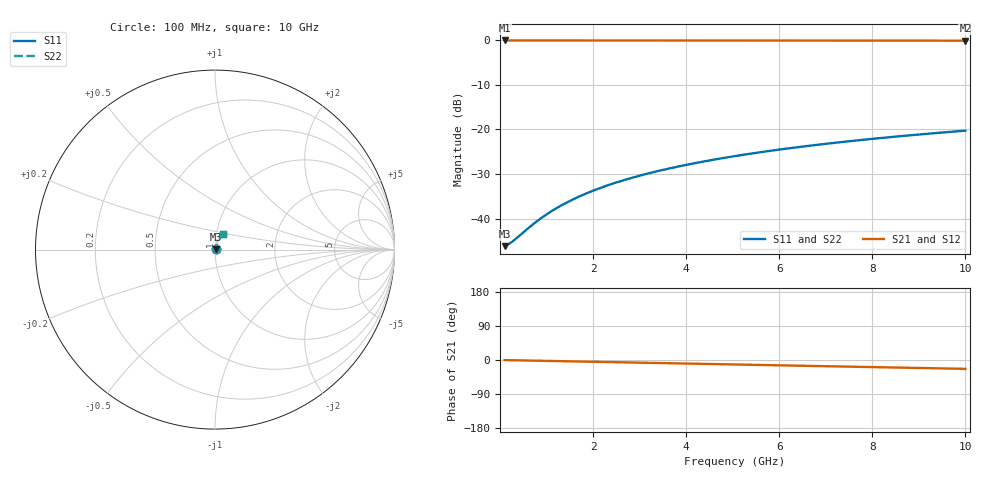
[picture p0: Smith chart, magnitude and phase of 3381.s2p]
# Hz S RI R 50.00
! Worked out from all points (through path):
!   100 points, 100 MHz to 10 GHz, reference 50 ohm
!   highest |S21| = -0.04 dB at 100 MHz (marker M1); lowest = -0.1 dB at 10 GHz (marker M2)
!   group delay of S21, straight-line fit = 6.5 ps
!   lowest |S11| = -46.2 dB at 100 MHz (marker M3), VSWR 1.01, Z = 50.5 + j0.0988 ohm
!   |S11| at or under -10 dB: start of sweep to end of sweep
!   |S22| runs from -46.2 to -20.3 dB; largest |S21 - S12| = 0
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1e8  0.00481 0.000978  0.9952 -0.00407  0.9952 -0.00407  0.00481 0.000978
2e8  0.00485 0.00196  0.9951 -0.00813  0.9951 -0.00813  0.00485 0.00196
3e8  0.00489 0.00293  0.9951 -0.0122  0.9951 -0.0122  0.00489 0.00293
7e8  0.00511 0.00684  0.9946 -0.0284  0.9946 -0.0284  0.00511 0.00684
8e8  0.00518 0.00781  0.9945 -0.0325  0.9945 -0.0325  0.00518 0.00781
1e9  0.00534 0.00976  0.9941 -0.0406  0.9941 -0.0406  0.00534 0.00976
1.2e9  0.00554 0.0117  0.9937 -0.0488  0.9937 -0.0488  0.00554 0.0117
1.4e9  0.00576 0.0137  0.9933 -0.0569  0.9933 -0.0569  0.00576 0.0137
1.6e9  0.00601 0.0156  0.9927 -0.065  0.9927 -0.065  0.00601 0.0156
1.8e9  0.0063 0.0175  0.9921 -0.0731  0.9921 -0.0731  0.0063 0.0175
2.1e9  0.00678 0.0204  0.9911 -0.0852  0.9911 -0.0852  0.00678 0.0204
2.5e9  0.00753 0.0242  0.9894 -0.1014  0.9894 -0.1014  0.00753 0.0242
2.9e9  0.00841 0.0281  0.9875 -0.1175  0.9875 -0.1175  0.00841 0.0281
3.4e9  0.00968 0.0328  0.9847 -0.1376  0.9847 -0.1376  0.00968 0.0328
3.8e9  0.0108 0.0365  0.9822 -0.1537  0.9822 -0.1537  0.0108 0.0365
4.2e9  0.0121 0.0402  0.9793 -0.1697  0.9793 -0.1697  0.0121 0.0402
5.1e9  0.0154 0.0483  0.972 -0.2054  0.972 -0.2054  0.0154 0.0483
5.9e9  0.0188 0.0553  0.9643 -0.237  0.9643 -0.237  0.0188 0.0553
6.7e9  0.0227 0.0621  0.9556 -0.2682  0.9556 -0.2682  0.0227 0.0621
7.5e9  0.027 0.0685  0.9458 -0.299  0.9458 -0.299  0.027 0.0685
8.4e9  0.0324 0.0755  0.9335 -0.3333  0.9335 -0.3333  0.0324 0.0755
1e10  0.043 0.0867  0.9086 -0.3928  0.9086 -0.3928  0.043 0.0867
